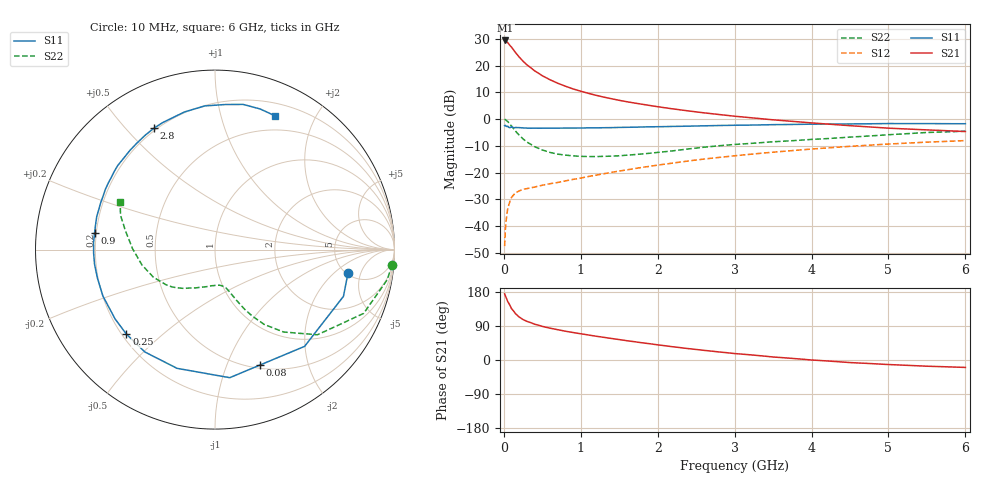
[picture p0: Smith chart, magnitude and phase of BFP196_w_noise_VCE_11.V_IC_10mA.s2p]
! Infineon Technologies  Discrete & RF Semiconductors
! BFP196
! VCE =  11. V,  IC =  10 mA
! Common Emitter S-Parameters:  Jan 2017
# GHz  S  MA  R  50
!  f  S11  S21  S12  S22
! GHz  MAG  ANG  MAG  ANG  MAG  ANG  MAG  ANG
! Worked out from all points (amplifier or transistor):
!   77 points, 10 MHz to 6 GHz, reference 50 ohm
!   highest |S21| = 29.4 dB at 20 MHz (marker M1)
!   |S21| within 3 dB of that: start of sweep to 112.8 MHz
!   unconditionally stable (mu >= 1): 988.8 MHz to 2.366 GHz
!   at 130 MHz: K = 0.23, MSG = 27.0 dB, |S12| = -28.3 dB
!   at 2.2 GHz: K = 1.02, MAG = 9.2 dB, |S12| = -16.5 dB
!   at 6 GHz: K = 0.91, MSG = 1.7 dB, |S12| = -8.1 dB
!   lowest NFmin = 0.99 dB at 450 MHz
!   S11 on the Smith chart (normalised r, x): 10 MHz: 5.13, -3.12; 80 MHz: 0.54, -1.32; 250 MHz: 0.22, -0.38; 900 MHz: 0.19, +0.07; 2.8 GHz: 0.19, +0.60; 6 GHz: 0.33, +1.49
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0.01  0.7524 -10.1  29.38 174.5  0.0042 81.1  0.9903 -4.9
0.02  0.7616 -20.0  29.45 169.3  0.0086 81.3  0.9744 -9.9
0.05  0.7347 -47.2  26.96 154.4  0.0209 66.6  0.9016 -23.2
0.08  0.6903 -68.8  23.7 143.9  0.0288 57.8  0.7973 -32.4
0.1  0.7183 -83.4  22.08 135.4  0.0343 54.3  0.7416 -39.8
0.15  0.6945 -107.7  17.62 122.4  0.0416 45.2  0.5979 -50.2
0.2  0.6914 -124.4  14.4 113.4  0.0454 40.8  0.4986 -56.7
0.25  0.6822 -136.3  12.04 106.7  0.0486 37.4  0.425 -60.7
0.3  0.6776 -145.2  10.3 101.9  0.0501 36.4  0.3713 -63.6
0.4  0.676 -157.5  7.968 94.4  0.0535 37.0  0.3041 -67.2
0.5  0.674 -166.4  6.449 88.7  0.0579 38.1  0.264 -69.8
0.6  0.6761 -173.1  5.432 84.0  0.0618 40.1  0.2377 -72.1
0.7  0.6766 -178.5  4.675 80.0  0.0652 42.4  0.2208 -74.2
0.9  0.6775 172.1  3.657 72.5  0.0745 45.7  0.205 -79.5
1.1  0.6841 164.4  3.022 66.0  0.0844 48.2  0.1992 -85.2
1.5  0.697 151.2  2.238 53.9  0.1066 50.9  0.2058 -99.1
2.1  0.7222 133.5  1.621 37.5  0.144 50.8  0.2458 -119.7
2.8  0.7571 116.7  1.214 21.2  0.1917 46.7  0.317 -139.0
3.1  0.7677 110.3  1.095 15.4  0.2122 44.0  0.3419 -146.6
4.1  0.8028 92.4  0.827 -1.2  0.2813 33.9  0.4228 -170.8
5.1  0.8228 77.6  0.665 -12.8  0.3464 21.8  0.5185 166.5
6  0.817 66.0  0.584 -19.6  0.3955 10.7  0.5922 153.1
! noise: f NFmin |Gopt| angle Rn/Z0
0.45  0.99  0.35  147  0.06
0.9  1.29  0.5  174  0.05
1.9  2.4  0.7  -139  0.25
2.4  2.9  0.73  -123  0.68
